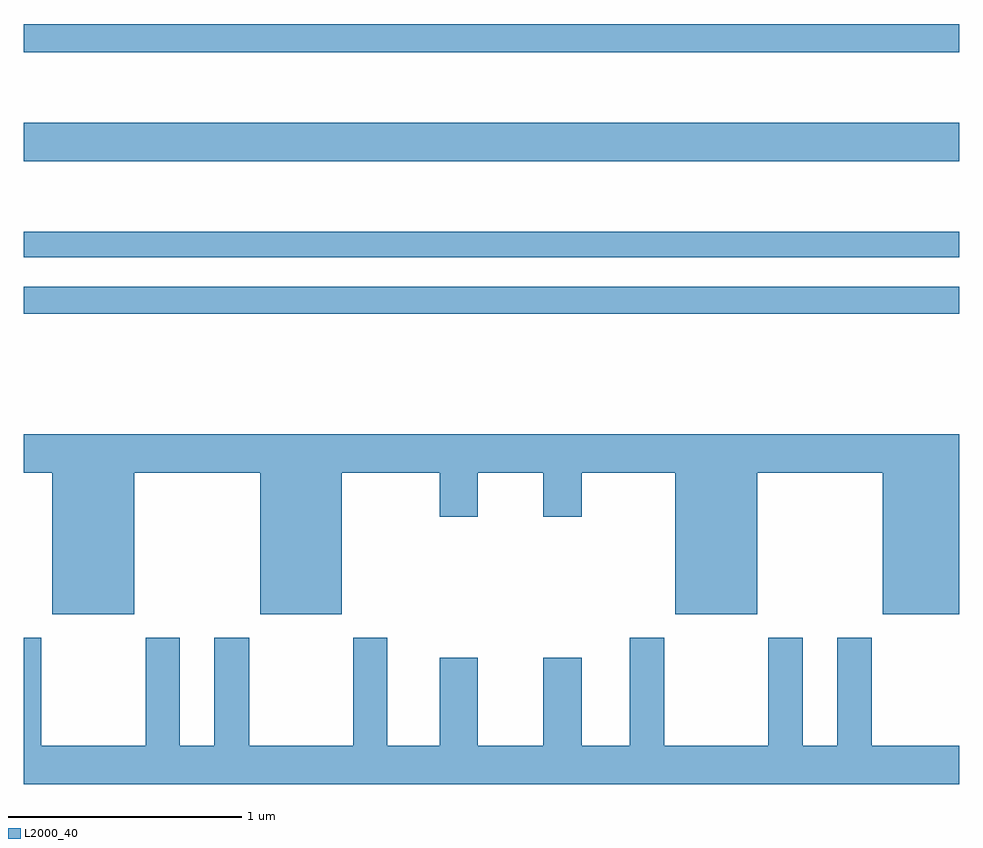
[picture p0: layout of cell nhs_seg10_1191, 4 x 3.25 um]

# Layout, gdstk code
import gdstk
lib = gdstk.Library(unit=1e-6, precision=1e-09)
def R(c, l, rs):  # rectangles x0, y0, x1, y1
    for r in rs: c.add(gdstk.rectangle(r[:2], r[2:], *l))
def P(c, l, *ps):  # polygons
    for p in ps: c.add(gdstk.Polygon(p, *l))
L2000_40 = (2000, 40)

nhs_seg10_1191 = lib.new_cell('nhs_seg10_1191')
R(nhs_seg10_1191, L2000_40, [(171,1328.968,175,1329.084), (171,1329.21,175,1329.319), (171,1329.62,175,1329.784), (171,1330.086,175,1330.207)])
P(nhs_seg10_1191, L2000_40, [(171.472,1328.288),(172.01,1328.288),(172.01,1327.682),(172.36,1327.682),(172.36,1328.288),(172.778,1328.288),(172.778,1328.1),(172.942,1328.1),(172.942,1328.288),(173.222,1328.288),(173.222,1328.1),(173.386,1328.1),(173.386,1328.288),(173.786,1328.288),(173.786,1327.682),(174.136,1327.682),(174.136,1328.288),(174.674,1328.288),(174.674,1327.682),(175,1327.682),(175,1328.452),(171,1328.452),(171,1328.288),(171.122,1328.288),(171.122,1327.682),(171.472,1327.682)],
  [(175,1327.12),(174.627,1327.12),(174.627,1327.582),(174.479,1327.582),(174.479,1327.12),(174.331,1327.12),(174.331,1327.582),(174.184,1327.582),(174.184,1327.12),(173.739,1327.12),(173.739,1327.582),(173.591,1327.582),(173.591,1327.12),(173.386,1327.12),(173.386,1327.495),(173.222,1327.495),(173.222,1327.12),(172.942,1327.12),(172.942,1327.495),(172.778,1327.495),(172.778,1327.12),(172.555,1327.12),(172.555,1327.582),(172.408,1327.582),(172.408,1327.12),(171.963,1327.12),(171.963,1327.582),(171.815,1327.582),(171.815,1327.12),(171.667,1327.12),(171.667,1327.582),(171.52,1327.582),(171.52,1327.12),(171.075,1327.12),(171.075,1327.582),(171,1327.582),(171,1326.956),(175,1326.956)])

lib.write_gds('nhs_seg10_1191.gds')
